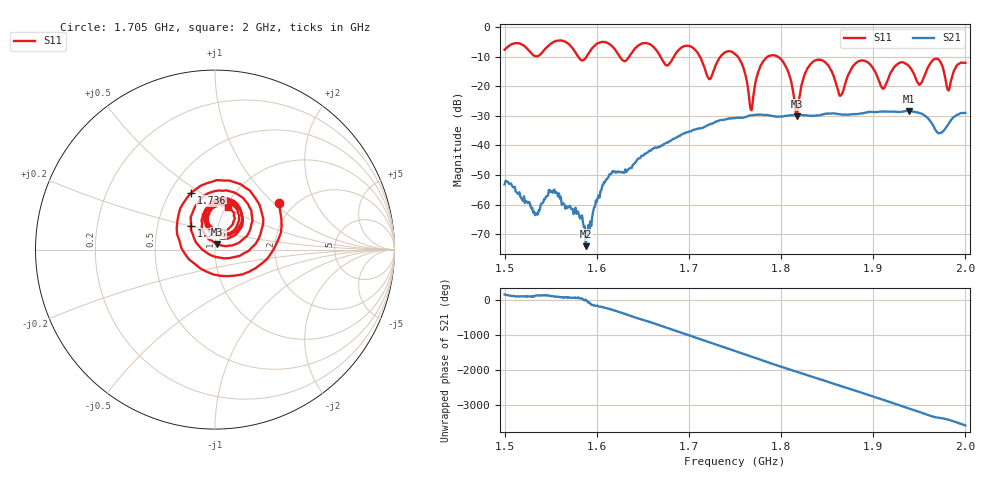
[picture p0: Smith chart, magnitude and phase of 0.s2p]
! NanoVNA-App by SYSJOINT et al v1.1.209 (+OD18)
! Date: 2026-01-21 14:40:58
! Start: 1,5GHz Stop: 2GHz Points: 501
! S-Parameter data: F S11 S21 S12 S22
# Hz S RI R 50
!  Frequency  S11_Real  S11_Imag  S21_Real  S21_Imag  S12_Real  S12_Imag  S22_Real  S22_Imag
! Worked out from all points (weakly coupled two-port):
!   501 points, 1.5 GHz to 2 GHz, reference 50 ohm
!   highest |S21| = -28.31 dB at 1.939 GHz (marker M1); lowest = -74.1 dB at 1.588 GHz (marker M2)
!   lowest |S11| = -30.2 dB at 1.817 GHz (marker M3), VSWR 1.06, Z = 50.9 + j2.99 ohm
!   |S11| at or under -10 dB: 1.712 GHz to 1.734 GHz (22.34 MHz wide, 1.3 % of centre); 1.753 GHz to 1.785 GHz (32.03 MHz wide, 1.81 % of centre); 1.796 GHz to end of sweep (the widest 3 of 6)
!   S12 and S22 are empty: the file has one direction only
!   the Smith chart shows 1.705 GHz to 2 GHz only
!   S11 on the Smith chart (normalised r, x): 1.705 GHz: 1.68, +1.08; 1.736 GHz: 0.64, +0.46; 1.776 GHz: 0.74, +0.20; 2 GHz: 1.02, +0.52
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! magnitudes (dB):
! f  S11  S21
! 1.5 GHz  -7.6  -53.2
! 1.584 GHz  -11.2  -63.7
! 1.588 GHz  -10.5  -74.1
! 1.615 GHz  -6.0  -49.6
! 1.667 GHz  -8.8  -40.4
! 1.705 GHz  -7.1  -34.7
! 1.722 GHz  -17.6  -32.9
! 1.736 GHz  -9.3  -31.4
! 1.75 GHz  -9.0  -30.7
! 1.767 GHz  -27.9  -29.9
! 1.776 GHz  -14.5  -29.6
! 1.8 GHz  -10.9  -30.2
! 1.817 GHz  -30.2  -29.7
! 1.834 GHz  -11.9  -30.0
! 1.865 GHz  -23.0  -29.5
! 1.885 GHz  -11.5  -29.3
! 1.917 GHz  -16.8  -28.6
! 1.939 GHz  -13.3  -28.3
! 1.951 GHz  -19.3  -29.1
! 1.97 GHz  -10.7  -35.7
! 1.981 GHz  -21.3  -33.1
! 2 GHz  -12.1  -29.0
